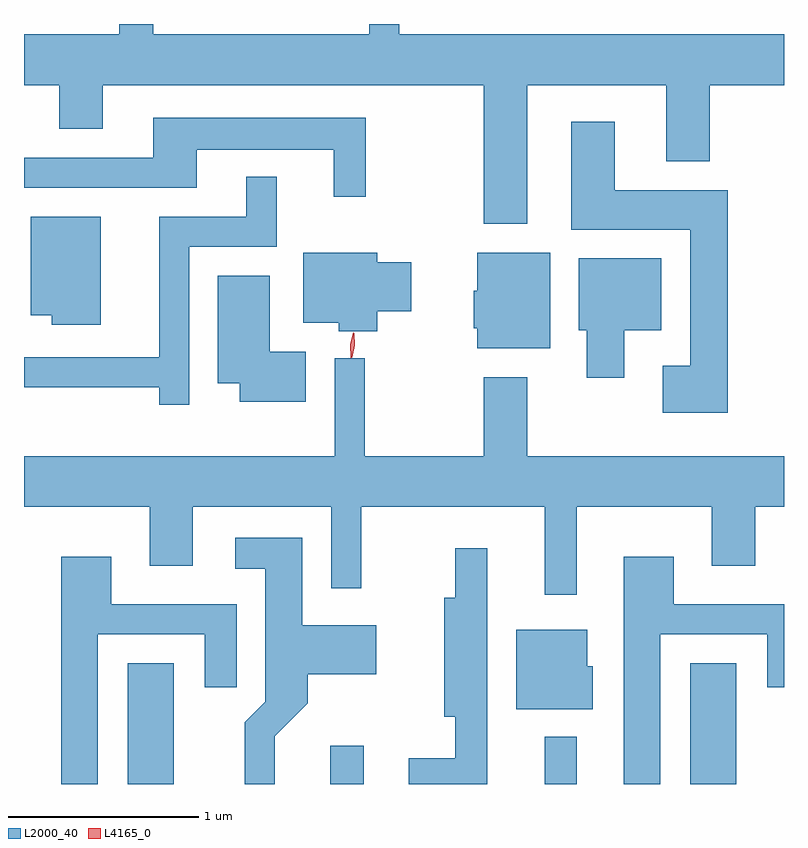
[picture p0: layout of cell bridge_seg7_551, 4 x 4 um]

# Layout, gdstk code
import gdstk
lib = gdstk.Library(unit=1e-6, precision=1e-09)
def R(c, l, rs):  # rectangles x0, y0, x1, y1
    for r in rs: c.add(gdstk.rectangle(r[:2], r[2:], *l))
def P(c, l, *ps):  # polygons
    for p in ps: c.add(gdstk.Polygon(p, *l))
L2000_40 = (2000, 40)
L4165_0 = (4165, 0)

bridge_seg7_551 = lib.new_cell('bridge_seg7_551')
R(bridge_seg7_551, L2000_40, [(976.756,1741.718,976.999,1742.354), (977.821,1741.718,977.999,1741.919), (978.951,1741.718,979.119,1741.968), (979.716,1741.718,979.959,1742.354)])
P(bridge_seg7_551, L2000_40, [(978.859,1745.396),(979.591,1745.396),(979.591,1744.996),(979.819,1744.996),(979.819,1745.396),(980.21,1745.396),(980.21,1745.664),(978.184,1745.664),(978.184,1745.718),(978.026,1745.718),(978.026,1745.664),(976.889,1745.664),(976.889,1745.718),(976.711,1745.718),(976.711,1745.664),(976.21,1745.664),(976.21,1745.396),(976.396,1745.396),(976.396,1745.166),(976.624,1745.166),(976.624,1745.396),(978.631,1745.396),(978.631,1744.666),(978.859,1744.666)],
  [(978.009,1745.224),(976.891,1745.224),(976.891,1745.014),(976.21,1745.014),(976.21,1744.856),(977.119,1744.856),(977.119,1745.056),(977.841,1745.056),(977.841,1744.808),(978.009,1744.808)],
  [(979.914,1744.844),(979.319,1744.844),(979.319,1745.204),(979.091,1745.204),(979.091,1744.636),(979.716,1744.636),(979.716,1743.919),(979.571,1743.919),(979.571,1743.671),(979.914,1743.671)],
  [(977.079,1744.546),(977.539,1744.546),(977.539,1744.913),(977.381,1744.913),(977.381,1744.704),(976.921,1744.704),(976.921,1743.964),(976.21,1743.964),(976.21,1743.806),(976.921,1743.806),(976.921,1743.713),(977.079,1743.713)],
  [(976.614,1744.704),(976.246,1744.704),(976.246,1744.186),(976.356,1744.186),(976.356,1744.136),(976.614,1744.136)],
  [(978.979,1744.514),(978.596,1744.514),(978.596,1744.314),(978.576,1744.314),(978.576,1744.116),(978.596,1744.116),(978.596,1744.011),(978.979,1744.011)],
  [(978.069,1744.206),(978.249,1744.206),(978.249,1744.464),(978.069,1744.464),(978.069,1744.514),(977.681,1744.514),(977.681,1744.146),(977.866,1744.146),(977.866,1744.101),(978.069,1744.101)],
  [(979.369,1744.106),(979.564,1744.106),(979.564,1744.484),(979.131,1744.484),(979.131,1744.106),(979.171,1744.106),(979.171,1743.856),(979.369,1743.856)],
  [(977.694,1743.994),(977.504,1743.994),(977.504,1744.394),(977.231,1744.394),(977.231,1743.826),(977.346,1743.826),(977.346,1743.731),(977.694,1743.731)],
  [(976.21,1743.176),(976.871,1743.176),(976.871,1742.866),(977.099,1742.866),(977.099,1743.176),(977.826,1743.176),(977.826,1742.748),(977.984,1742.748),(977.984,1743.176),(978.951,1743.176),(978.951,1742.713),(979.119,1742.713),(979.119,1743.176),(979.831,1743.176),(979.831,1742.866),(980.059,1742.866),(980.059,1743.176),(980.21,1743.176),(980.21,1743.444),(978.859,1743.444),(978.859,1743.859),(978.631,1743.859),(978.631,1743.444),(978.004,1743.444),(978.004,1743.958),(977.846,1743.958),(977.846,1743.444),(976.21,1743.444)],
  [(977.529,1741.969),(977.704,1742.144),(977.704,1742.296),(978.064,1742.296),(978.064,1742.554),(977.674,1742.554),(977.674,1743.014),(977.323,1743.014),(977.323,1742.851),(977.481,1742.851),(977.481,1742.152),(977.371,1742.042),(977.371,1741.718),(977.529,1741.718)],
  [(978.649,1742.958),(978.481,1742.958),(978.481,1742.699),(978.421,1742.699),(978.421,1742.071),(978.481,1742.071),(978.481,1741.854),(978.236,1741.854),(978.236,1741.718),(978.649,1741.718)],
  [(976.599,1742.506),(977.161,1742.506),(977.161,1742.228),(977.329,1742.228),(977.329,1742.664),(976.669,1742.664),(976.669,1742.914),(976.406,1742.914),(976.406,1741.718),(976.599,1741.718)],
  [(979.559,1742.506),(980.121,1742.506),(980.121,1742.228),(980.21,1742.228),(980.21,1742.664),(979.629,1742.664),(979.629,1742.914),(979.366,1742.914),(979.366,1741.718),(979.559,1741.718)],
  [(979.204,1742.339),(979.174,1742.339),(979.174,1742.529),(978.801,1742.529),(978.801,1742.111),(979.204,1742.111)])
P(bridge_seg7_551, L4165_0, [(977.931,1743.96),(977.931,1743.961),(977.927,1744.029),(977.942,1744.096),(977.943,1744.096),(977.943,1744.096),(977.947,1744.028),(977.932,1743.961)],
  [(977.936,1743.963),(977.936,1743.963),(977.932,1744.028),(977.946,1744.09),(977.947,1744.09),(977.947,1744.09),(977.951,1744.026),(977.937,1743.963)])

lib.write_gds('bridge_seg7_551.gds')
